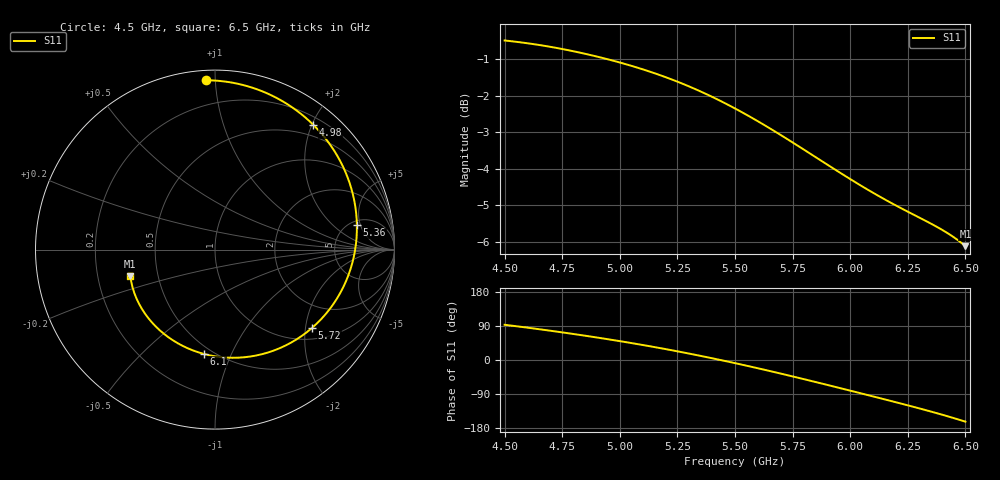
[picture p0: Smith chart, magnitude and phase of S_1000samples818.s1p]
! TOUCHSTONE file generated by CST MICROWAVE STUDIO
! Date and time: Sat Oct 29 12:07:48 2022
! Project name: L.cst
! Parameters = {Di=1.27; Epsilon_r=1.56; InnerDiameter=1.27; Length=2; Lf=10; Lg=60; OuterConductorThickness=0.2921; OuterDiameter=3.6; Wf=3; Wp=41.2; de=1.5; df=6.8; g=0.8; gx=4.35122; gy=3.59064; h=2.34; hf=1.524; px=13.1078; py=12.9605; w=9.7; wx=8.75657; wy=9.36988}
! Header version: 2018
! Port assignment regex: !\s*Touchstone port\s*([0-9]+)\s*=\s*(CST MWS port|CST DS port)\s*([0-9]+|Zmin|Zmax)\s*\(\"(.*)\"\)(\s*mode\s*([0-9]+))?.*
! Touchstone port assignment:
! Touchstone port 1 = CST MWS port 1 ("")
# GHz S DB R 50
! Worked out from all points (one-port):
!   101 points, 4.5 GHz to 6.5 GHz, reference 50 ohm
!   lowest |S11| = -6.1 dB at 6.5 GHz (marker M1), VSWR 2.95, Z = 17.3 - j6.69 ohm
!   |S11| at or under -10 dB: nowhere
!   S11 on the Smith chart (normalised r, x): 4.5 GHz: 0.05, +0.95; 4.98 GHz: 0.32, +2.02; 5.36 GHz: 5.74, +4.35; 5.72 GHz: 1.29, -2.17; 6.1 GHz: 0.45, -0.79; 6.5 GHz: 0.35, -0.13
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4.5  -0.49 93.0
4.64  -0.61 82.1
4.76  -0.74 72.0
4.88  -0.90 61.3
4.98  -1.06 51.7
5  -1.10 49.8
5.06  -1.21 43.7
5.14  -1.37 35.2
5.2  -1.50 28.6
5.26  -1.65 21.7
5.36  -1.92 9.7
5.44  -2.16 -0.4
5.5  -2.35 -8.3
5.6  -2.71 -21.9
5.66  -2.93 -30.4
5.72  -3.17 -39.0
5.76  -3.32 -44.8
5.82  -3.57 -53.7
5.88  -3.81 -62.7
5.94  -4.05 -71.7
6  -4.29 -80.9
6.1  -4.67 -96.2
6.18  -4.95 -108.6
6.26  -5.21 -121.3
6.32  -5.41 -131.0
6.38  -5.61 -141.1
6.44  -5.84 -151.6
6.5  -6.12 -162.8
